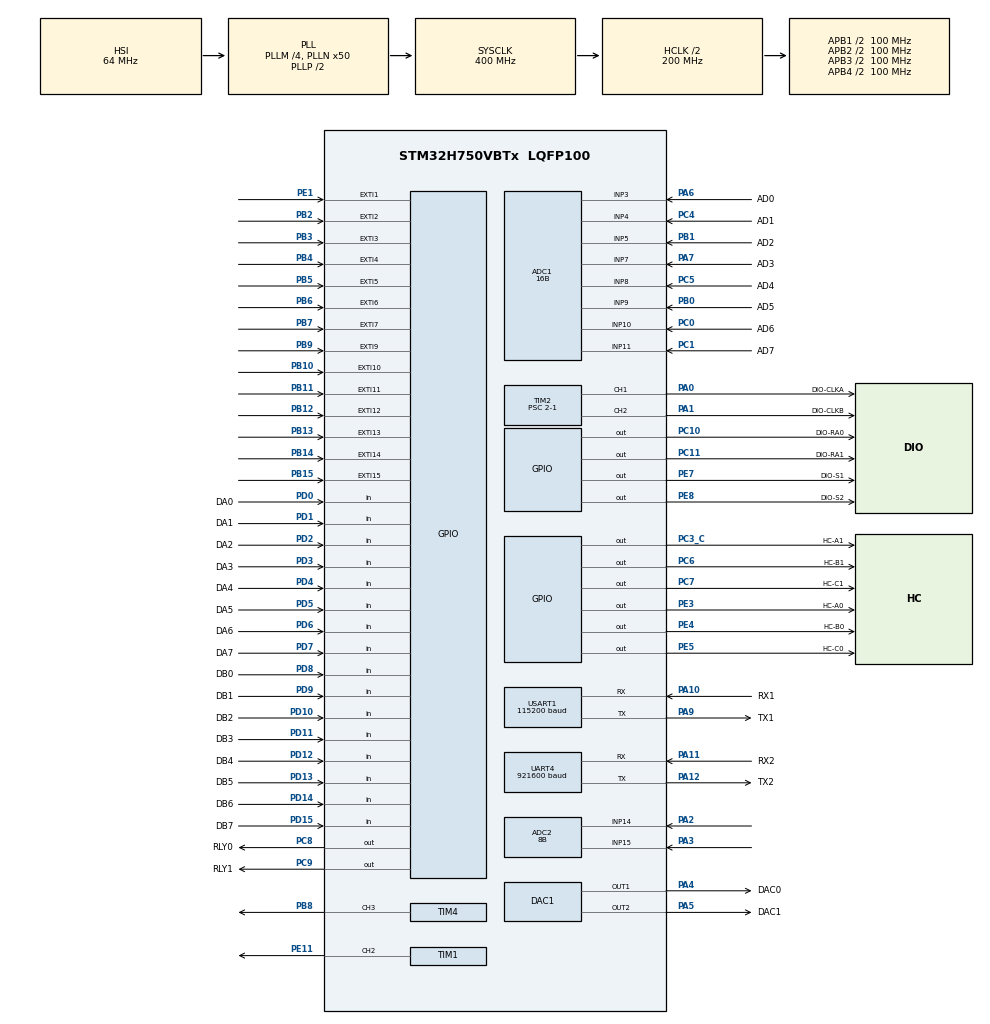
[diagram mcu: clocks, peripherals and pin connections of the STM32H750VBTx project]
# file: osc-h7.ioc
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ADC1.Channel-11\#ChannelRegularConversion=ADC_CHANNEL_3
ADC1.Channel-12\#ChannelRegularConversion=ADC_CHANNEL_4
ADC1.Channel-13\#ChannelRegularConversion=ADC_CHANNEL_5
ADC1.Channel-14\#ChannelRegularConversion=ADC_CHANNEL_7
ADC1.Channel-15\#ChannelRegularConversion=ADC_CHANNEL_8
ADC1.Channel-16\#ChannelRegularConversion=ADC_CHANNEL_9
ADC1.Channel-17\#ChannelRegularConversion=ADC_CHANNEL_10
ADC1.Channel-18\#ChannelRegularConversion=ADC_CHANNEL_11
ADC1.ClockPrescaler=ADC_CLOCK_ASYNC_DIV16
ADC1.ContinuousConvMode=DISABLE
ADC1.ConversionDataManagement=ADC_CONVERSIONDATA_DR
ADC1.DiscontinuousConvMode=ENABLE
ADC1.Mode=ADC_MODE_INDEPENDENT
ADC1.NbrOfConversion=8
ADC1.NbrOfConversionFlag=1
ADC1.OffsetNumber-11\#ChannelRegularConversion=ADC_OFFSET_NONE
ADC1.OffsetNumber-12\#ChannelRegularConversion=ADC_OFFSET_NONE
ADC1.OffsetNumber-13\#ChannelRegularConversion=ADC_OFFSET_NONE
ADC1.OffsetNumber-14\#ChannelRegularConversion=ADC_OFFSET_NONE
ADC1.OffsetNumber-15\#ChannelRegularConversion=ADC_OFFSET_NONE
ADC1.OffsetNumber-16\#ChannelRegularConversion=ADC_OFFSET_NONE
ADC1.OffsetNumber-17\#ChannelRegularConversion=ADC_OFFSET_NONE
ADC1.OffsetNumber-18\#ChannelRegularConversion=ADC_OFFSET_NONE
ADC1.OffsetSignedSaturation-11\#ChannelRegularConversion=DISABLE
ADC1.OffsetSignedSaturation-12\#ChannelRegularConversion=DISABLE
ADC1.OffsetSignedSaturation-13\#ChannelRegularConversion=DISABLE
ADC1.OffsetSignedSaturation-14\#ChannelRegularConversion=DISABLE
ADC1.OffsetSignedSaturation-15\#ChannelRegularConversion=DISABLE
ADC1.OffsetSignedSaturation-16\#ChannelRegularConversion=DISABLE
ADC1.OffsetSignedSaturation-17\#ChannelRegularConversion=DISABLE
ADC1.OffsetSignedSaturation-18\#ChannelRegularConversion=DISABLE
ADC1.Overrun=ADC_OVR_DATA_PRESERVED
ADC1.Rank-11\#ChannelRegularConversion=1
ADC1.Rank-12\#ChannelRegularConversion=2
ADC1.Rank-13\#ChannelRegularConversion=3
ADC1.Rank-14\#ChannelRegularConversion=4
ADC1.Rank-15\#ChannelRegularConversion=5
ADC1.Rank-16\#ChannelRegularConversion=6
ADC1.Rank-17\#ChannelRegularConversion=7
ADC1.Rank-18\#ChannelRegularConversion=8
ADC1.Resolution=ADC_RESOLUTION_16B
ADC1.SamplingTime-11\#ChannelRegularConversion=ADC_SAMPLETIME_387CYCLES_5
ADC1.SamplingTime-12\#ChannelRegularConversion=ADC_SAMPLETIME_387CYCLES_5
ADC1.SamplingTime-13\#ChannelRegularConversion=ADC_SAMPLETIME_387CYCLES_5
ADC1.SamplingTime-14\#ChannelRegularConversion=ADC_SAMPLETIME_1CYCLE_5
ADC1.SamplingTime-15\#ChannelRegularConversion=ADC_SAMPLETIME_1CYCLE_5
ADC1.SamplingTime-16\#ChannelRegularConversion=ADC_SAMPLETIME_1CYCLE_5
ADC1.SamplingTime-17\#ChannelRegularConversion=ADC_SAMPLETIME_1CYCLE_5
ADC1.SamplingTime-18\#ChannelRegularConversion=ADC_SAMPLETIME_1CYCLE_5
ADC1.master=1
ADC2.Channel-5\#ChannelRegularConversion=ADC_CHANNEL_14
ADC2.Channel-6\#ChannelRegularConversion=ADC_CHANNEL_15
ADC2.ClockPrescaler=ADC_CLOCK_ASYNC_DIV16
ADC2.ContinuousConvMode=ENABLE
ADC2.ConversionDataManagement=ADC_CONVERSIONDATA_DMA_CIRCULAR
ADC2.DiscontinuousConvMode=DISABLE
ADC2.NbrOfConversion=2
ADC2.NbrOfConversionFlag=1
ADC2.OffsetNumber-5\#ChannelRegularConversion=ADC_OFFSET_NONE
ADC2.OffsetNumber-6\#ChannelRegularConversion=ADC_OFFSET_NONE
ADC2.OffsetSignedSaturation-5\#ChannelRegularConversion=DISABLE
ADC2.OffsetSignedSaturation-6\#ChannelRegularConversion=DISABLE
ADC2.Overrun=ADC_OVR_DATA_OVERWRITTEN
ADC2.Rank-5\#ChannelRegularConversion=1
ADC2.Rank-6\#ChannelRegularConversion=2
ADC2.Resolution=ADC_RESOLUTION_8B
ADC2.SamplingTime-5\#ChannelRegularConversion=ADC_SAMPLETIME_1CYCLE_5
ADC2.SamplingTime-6\#ChannelRegularConversion=ADC_SAMPLETIME_1CYCLE_5
Bdma.BDMA_GENERATOR0.0.Direction=DMA_PERIPH_TO_MEMORY
Bdma.BDMA_GENERATOR0.0.EventEnable=DISABLE
Bdma.BDMA_GENERATOR0.0.Instance=BDMA_Channel0
Bdma.BDMA_GENERATOR0.0.MemDataAlignment=DMA_MDATAALIGN_BYTE
Bdma.BDMA_GENERATOR0.0.MemInc=DMA_MINC_ENABLE
Bdma.BDMA_GENERATOR0.0.Mode=DMA_NORMAL
Bdma.BDMA_GENERATOR0.0.PeriphDataAlignment=DMA_PDATAALIGN_BYTE
Bdma.BDMA_GENERATOR0.0.PeriphInc=DMA_PINC_DISABLE
Bdma.BDMA_GENERATOR0.0.Polarity=HAL_DMAMUX_REQ_GEN_RISING
Bdma.BDMA_GENERATOR0.0.Priority=DMA_PRIORITY_LOW
Bdma.BDMA_GENERATOR0.0.RequestNumber=1
Bdma.BDMA_GENERATOR0.0.SignalID=NONE
Bdma.BDMA_GENERATOR0.0.SyncEnable=DISABLE
Bdma.BDMA_GENERATOR0.0.SyncPolarity=HAL_DMAMUX_SYNC_NO_EVENT
Bdma.BDMA_GENERATOR0.0.SyncRequestNumber=1
Bdma.BDMA_GENERATOR0.0.SyncSignalID=NONE
Bdma.Request0=BDMA_GENERATOR0
Bdma.RequestsNb=1
DAC1.DAC_Channel-DAC_OUT1=DAC_CHANNEL_1
DAC1.DAC_Channel-DAC_OUT2=DAC_CHANNEL_2
Dma.ADC1.5.Direction=DMA_PERIPH_TO_MEMORY
Dma.ADC1.5.EventEnable=DISABLE
Dma.ADC1.5.FIFOMode=DMA_FIFOMODE_DISABLE
Dma.ADC1.5.Instance=DMA2_Stream2
Dma.ADC1.5.MemDataAlignment=DMA_MDATAALIGN_WORD
Dma.ADC1.5.MemInc=DMA_MINC_ENABLE
Dma.ADC1.5.Mode=DMA_CIRCULAR
Dma.ADC1.5.PeriphDataAlignment=DMA_PDATAALIGN_WORD
Dma.ADC1.5.PeriphInc=DMA_PINC_DISABLE
Dma.ADC1.5.Polarity=HAL_DMAMUX_REQ_GEN_RISING
Dma.ADC1.5.Priority=DMA_PRIORITY_LOW
Dma.ADC1.5.RequestNumber=1
Dma.ADC1.5.SignalID=NONE
Dma.ADC1.5.SyncEnable=DISABLE
Dma.ADC1.5.SyncPolarity=HAL_DMAMUX_SYNC_NO_EVENT
Dma.ADC1.5.SyncRequestNumber=1
Dma.ADC1.5.SyncSignalID=NONE
Dma.ADC2.0.Direction=DMA_PERIPH_TO_MEMORY
Dma.ADC2.0.EventEnable=DISABLE
Dma.ADC2.0.FIFOMode=DMA_FIFOMODE_ENABLE
Dma.ADC2.0.FIFOThreshold=DMA_FIFO_THRESHOLD_FULL
Dma.ADC2.0.Instance=DMA1_Stream0
Dma.ADC2.0.MemBurst=DMA_MBURST_SINGLE
Dma.ADC2.0.MemDataAlignment=DMA_MDATAALIGN_BYTE
Dma.ADC2.0.MemInc=DMA_MINC_ENABLE
Dma.ADC2.0.Mode=DMA_CIRCULAR
Dma.ADC2.0.PeriphBurst=DMA_PBURST_SINGLE
Dma.ADC2.0.PeriphDataAlignment=DMA_PDATAALIGN_BYTE
Dma.ADC2.0.PeriphInc=DMA_PINC_DISABLE
Dma.ADC2.0.Polarity=HAL_DMAMUX_REQ_GEN_RISING
Dma.ADC2.0.Priority=DMA_PRIORITY_LOW
Dma.ADC2.0.RequestNumber=1
Dma.ADC2.0.SignalID=NONE
Dma.ADC2.0.SyncEnable=DISABLE
Dma.ADC2.0.SyncPolarity=HAL_DMAMUX_SYNC_NO_EVENT
Dma.ADC2.0.SyncRequestNumber=1
Dma.ADC2.0.SyncSignalID=NONE
Dma.Request0=ADC2
Dma.Request1=TIM2_CH1
Dma.Request2=TIM2_UP
Dma.Request3=USART1_RX
Dma.Request4=USART1_TX
Dma.Request5=ADC1
Dma.Request6=TIM1_CH2
Dma.Request7=TIM1_CH4
Dma.Request8=TIM1_CH3
Dma.TIM1_CH2.6.Direction=DMA_PERIPH_TO_MEMORY
Dma.TIM1_CH2.6.EventEnable=DISABLE
Dma.TIM1_CH2.6.FIFOMode=DMA_FIFOMODE_DISABLE
Dma.TIM1_CH2.6.Instance=DMA1_Stream2
Dma.TIM1_CH2.6.MemDataAlignment=DMA_MDATAALIGN_HALFWORD
Dma.TIM1_CH2.6.MemInc=DMA_MINC_ENABLE
Dma.TIM1_CH2.6.Mode=DMA_NORMAL
Dma.TIM1_CH2.6.PeriphDataAlignment=DMA_PDATAALIGN_HALFWORD
Dma.TIM1_CH2.6.PeriphInc=DMA_PINC_DISABLE
Dma.TIM1_CH2.6.Polarity=HAL_DMAMUX_REQ_GEN_RISING
Dma.TIM1_CH2.6.Priority=DMA_PRIORITY_LOW
Dma.TIM1_CH2.6.RequestNumber=1
Dma.TIM1_CH2.6.SignalID=NONE
Dma.TIM1_CH2.6.SyncEnable=DISABLE
Dma.TIM1_CH2.6.SyncPolarity=HAL_DMAMUX_SYNC_NO_EVENT
Dma.TIM1_CH2.6.SyncRequestNumber=1
Dma.TIM1_CH2.6.SyncSignalID=NONE
Dma.TIM1_CH3.8.Direction=DMA_PERIPH_TO_MEMORY
Dma.TIM1_CH3.8.EventEnable=DISABLE
Dma.TIM1_CH3.8.FIFOMode=DMA_FIFOMODE_DISABLE
Dma.TIM1_CH3.8.Instance=DMA1_Stream3
Dma.TIM1_CH3.8.MemDataAlignment=DMA_MDATAALIGN_HALFWORD
Dma.TIM1_CH3.8.MemInc=DMA_MINC_ENABLE
Dma.TIM1_CH3.8.Mode=DMA_NORMAL
Dma.TIM1_CH3.8.PeriphDataAlignment=DMA_PDATAALIGN_HALFWORD
Dma.TIM1_CH3.8.PeriphInc=DMA_PINC_DISABLE
Dma.TIM1_CH3.8.Polarity=HAL_DMAMUX_REQ_GEN_RISING
Dma.TIM1_CH3.8.Priority=DMA_PRIORITY_LOW
Dma.TIM1_CH3.8.RequestNumber=1
Dma.TIM1_CH3.8.SignalID=NONE
Dma.TIM1_CH3.8.SyncEnable=DISABLE
Dma.TIM1_CH3.8.SyncPolarity=HAL_DMAMUX_SYNC_NO_EVENT
Dma.TIM1_CH3.8.SyncRequestNumber=1
Dma.TIM1_CH3.8.SyncSignalID=NONE
Dma.TIM1_CH4.7.Direction=DMA_PERIPH_TO_MEMORY
Dma.TIM1_CH4.7.EventEnable=DISABLE
Dma.TIM1_CH4.7.FIFOMode=DMA_FIFOMODE_DISABLE
Dma.TIM1_CH4.7.Instance=DMA1_Stream4
Dma.TIM1_CH4.7.MemDataAlignment=DMA_MDATAALIGN_HALFWORD
Dma.TIM1_CH4.7.MemInc=DMA_MINC_ENABLE
Dma.TIM1_CH4.7.Mode=DMA_NORMAL
Dma.TIM1_CH4.7.PeriphDataAlignment=DMA_PDATAALIGN_HALFWORD
Dma.TIM1_CH4.7.PeriphInc=DMA_PINC_DISABLE
Dma.TIM1_CH4.7.Polarity=HAL_DMAMUX_REQ_GEN_RISING
Dma.TIM1_CH4.7.Priority=DMA_PRIORITY_LOW
Dma.TIM1_CH4.7.RequestNumber=1
Dma.TIM1_CH4.7.SignalID=NONE
Dma.TIM1_CH4.7.SyncEnable=DISABLE
Dma.TIM1_CH4.7.SyncPolarity=HAL_DMAMUX_SYNC_NO_EVENT
Dma.TIM1_CH4.7.SyncRequestNumber=1
Dma.TIM1_CH4.7.SyncSignalID=NONE
Dma.TIM2_CH1.1.Direction=DMA_PERIPH_TO_MEMORY
Dma.TIM2_CH1.1.EventEnable=DISABLE
Dma.TIM2_CH1.1.FIFOMode=DMA_FIFOMODE_DISABLE
Dma.TIM2_CH1.1.Instance=DMA2_Stream0
Dma.TIM2_CH1.1.MemDataAlignment=DMA_MDATAALIGN_HALFWORD
Dma.TIM2_CH1.1.MemInc=DMA_MINC_ENABLE
Dma.TIM2_CH1.1.Mode=DMA_NORMAL
Dma.TIM2_CH1.1.PeriphDataAlignment=DMA_PDATAALIGN_HALFWORD
Dma.TIM2_CH1.1.PeriphInc=DMA_PINC_DISABLE
Dma.TIM2_CH1.1.Polarity=HAL_DMAMUX_REQ_GEN_RISING
Dma.TIM2_CH1.1.Priority=DMA_PRIORITY_LOW
Dma.TIM2_CH1.1.RequestNumber=1
Dma.TIM2_CH1.1.SignalID=NONE
Dma.TIM2_CH1.1.SyncEnable=DISABLE
Dma.TIM2_CH1.1.SyncPolarity=HAL_DMAMUX_SYNC_NO_EVENT
Dma.TIM2_CH1.1.SyncRequestNumber=1
Dma.TIM2_CH1.1.SyncSignalID=NONE
Dma.TIM2_UP.2.Direction=DMA_PERIPH_TO_MEMORY
Dma.TIM2_UP.2.EventEnable=DISABLE
Dma.TIM2_UP.2.FIFOMode=DMA_FIFOMODE_DISABLE
Dma.TIM2_UP.2.Instance=DMA2_Stream4
Dma.TIM2_UP.2.MemDataAlignment=DMA_MDATAALIGN_WORD
Dma.TIM2_UP.2.MemInc=DMA_MINC_ENABLE
Dma.TIM2_UP.2.Mode=DMA_NORMAL
Dma.TIM2_UP.2.PeriphDataAlignment=DMA_PDATAALIGN_WORD
Dma.TIM2_UP.2.PeriphInc=DMA_PINC_DISABLE
Dma.TIM2_UP.2.Polarity=HAL_DMAMUX_REQ_GEN_RISING
Dma.TIM2_UP.2.Priority=DMA_PRIORITY_LOW
Dma.TIM2_UP.2.RequestNumber=1
Dma.TIM2_UP.2.SignalID=NONE
Dma.TIM2_UP.2.SyncEnable=DISABLE
Dma.TIM2_UP.2.SyncPolarity=HAL_DMAMUX_SYNC_NO_EVENT
Dma.TIM2_UP.2.SyncRequestNumber=1
Dma.TIM2_UP.2.SyncSignalID=NONE
Dma.USART1_RX.3.Direction=DMA_PERIPH_TO_MEMORY
Dma.USART1_RX.3.EventEnable=DISABLE
Dma.USART1_RX.3.FIFOMode=DMA_FIFOMODE_DISABLE
Dma.USART1_RX.3.Instance=DMA1_Stream5
Dma.USART1_RX.3.MemDataAlignment=DMA_MDATAALIGN_HALFWORD
Dma.USART1_RX.3.MemInc=DMA_MINC_ENABLE
Dma.USART1_RX.3.Mode=DMA_NORMAL
Dma.USART1_RX.3.PeriphDataAlignment=DMA_PDATAALIGN_HALFWORD
Dma.USART1_RX.3.PeriphInc=DMA_PINC_DISABLE
Dma.USART1_RX.3.Polarity=HAL_DMAMUX_REQ_GEN_RISING
Dma.USART1_RX.3.Priority=DMA_PRIORITY_LOW
Dma.USART1_RX.3.RequestNumber=1
Dma.USART1_RX.3.SignalID=NONE
Dma.USART1_RX.3.SyncEnable=DISABLE
Dma.USART1_RX.3.SyncPolarity=HAL_DMAMUX_SYNC_NO_EVENT
Dma.USART1_RX.3.SyncRequestNumber=1
Dma.USART1_RX.3.SyncSignalID=NONE
Dma.USART1_TX.4.Direction=DMA_MEMORY_TO_PERIPH
Dma.USART1_TX.4.EventEnable=DISABLE
Dma.USART1_TX.4.FIFOMode=DMA_FIFOMODE_DISABLE
Dma.USART1_TX.4.Instance=DMA1_Stream6
Dma.USART1_TX.4.MemDataAlignment=DMA_MDATAALIGN_HALFWORD
Dma.USART1_TX.4.MemInc=DMA_MINC_ENABLE
Dma.USART1_TX.4.Mode=DMA_NORMAL
Dma.USART1_TX.4.PeriphDataAlignment=DMA_PDATAALIGN_HALFWORD
Dma.USART1_TX.4.PeriphInc=DMA_PINC_DISABLE
Dma.USART1_TX.4.Polarity=HAL_DMAMUX_REQ_GEN_RISING
Dma.USART1_TX.4.Priority=DMA_PRIORITY_LOW
Dma.USART1_TX.4.RequestNumber=1
Dma.USART1_TX.4.SignalID=NONE
Dma.USART1_TX.4.SyncEnable=DISABLE
Dma.USART1_TX.4.SyncPolarity=HAL_DMAMUX_SYNC_NO_EVENT
Dma.USART1_TX.4.SyncRequestNumber=1
Dma.USART1_TX.4.SyncSignalID=NONE
Mcu.Family=STM32H7
Mcu.Name=STM32H750VBTx
Mcu.Package=LQFP100
NVIC.DMA1_Stream0_IRQn=true\:0\:0\:true\:false\:true\:false\:true\:true
NVIC.DMA1_Stream2_IRQn=true\:0\:0\:false\:false\:true\:false\:true\:true
NVIC.DMA1_Stream3_IRQn=true\:0\:0\:false\:false\:true\:false\:true\:true
NVIC.DMA1_Stream4_IRQn=true\:0\:0\:false\:false\:true\:false\:true\:true
NVIC.DMA1_Stream5_IRQn=true\:0\:0\:false\:false\:true\:false\:true\:true
NVIC.DMA1_Stream6_IRQn=true\:0\:0\:false\:false\:true\:false\:true\:true
NVIC.DMA2_Stream0_IRQn=true\:0\:0\:false\:false\:true\:false\:true\:true
NVIC.DMA2_Stream2_IRQn=true\:0\:0\:false\:false\:true\:false\:true\:true
NVIC.DMA2_Stream4_IRQn=true\:0\:0\:false\:false\:true\:false\:true\:true
NVIC.EXTI15_10_IRQn=true\:2\:1\:true\:false\:true\:true\:true\:true
NVIC.EXTI1_IRQn=true\:2\:1\:true\:false\:true\:true\:true\:true
NVIC.EXTI2_IRQn=true\:2\:1\:true\:false\:true\:true\:true\:true
NVIC.EXTI3_IRQn=true\:2\:1\:true\:false\:true\:true\:true\:true
NVIC.EXTI4_IRQn=true\:2\:1\:true\:false\:true\:true\:true\:true
NVIC.EXTI9_5_IRQn=true\:1\:1\:true\:false\:true\:true\:true\:true
NVIC.PriorityGroup=NVIC_PRIORITYGROUP_3
NVIC.TIM3_IRQn=true\:2\:1\:true\:false\:true\:true\:true\:true
NVIC.TIM5_IRQn=true\:2\:0\:true\:false\:true\:true\:true\:true
NVIC.TIM6_DAC_IRQn=true\:0\:0\:false\:false\:true\:true\:true\:true
NVIC.TIM8_BRK_TIM12_IRQn=true\:0\:0\:false\:false\:true\:true\:true\:true
NVIC.USART1_IRQn=true\:0\:0\:false\:false\:true\:true\:true\:true
PA0.GPIO_Label=DIO-CLKA
PA0.PinAttribute=Free
PA0.Signal=S_TIM2_CH1_ETR
PA1.GPIO_Label=DIO-CLKB
PA1.Signal=S_TIM2_CH2
PA10.GPIO_Label=RX1
PA10.Mode=Asynchronous
PA10.Signal=USART1_RX
PA11.GPIO_Label=RX2
PA11.Mode=Asynchronous
PA11.Signal=UART4_RX
PA12.GPIO_Label=TX2
PA12.Mode=Asynchronous
PA12.Signal=UART4_TX
PA2.Signal=ADCx_INP14
PA3.Signal=ADCx_INP15
PA4.GPIO_Label=DAC0
PA4.Signal=COMP_DAC11_group
PA5.GPIO_Label=DAC1
PA5.Signal=COMP_DAC12_group
PA6.GPIO_Label=AD0
PA6.Signal=ADCx_INP3
PA7.GPIO_Label=AD3
PA7.Signal=ADCx_INP7
PA9.GPIO_Label=TX1
PA9.Mode=Asynchronous
PA9.Signal=USART1_TX
PB0.GPIO_Label=AD5
PB0.Signal=ADCx_INP9
PB1.GPIO_Label=AD2
PB1.Signal=ADCx_INP5
PB10.GPIO_ModeDefaultEXTI=GPIO_MODE_IT_FALLING
PB10.GPIO_PuPd=GPIO_PULLUP
PB10.Signal=GPXTI10
PB11.GPIO_ModeDefaultEXTI=GPIO_MODE_IT_FALLING
PB11.GPIO_PuPd=GPIO_PULLUP
PB11.Signal=GPXTI11
PB12.GPIO_ModeDefaultEXTI=GPIO_MODE_IT_FALLING
PB12.GPIO_PuPd=GPIO_PULLUP
PB12.Signal=GPXTI12
PB13.GPIO_ModeDefaultEXTI=GPIO_MODE_IT_FALLING
PB13.GPIO_PuPd=GPIO_PULLUP
PB13.Signal=GPXTI13
PB14.GPIO_ModeDefaultEXTI=GPIO_MODE_IT_FALLING
PB14.GPIO_PuPd=GPIO_PULLUP
PB14.Signal=GPXTI14
PB15.GPIO_ModeDefaultEXTI=GPIO_MODE_IT_FALLING
PB15.GPIO_PuPd=GPIO_PULLUP
PB15.Signal=GPXTI15
PB2.GPIO_ModeDefaultEXTI=GPIO_MODE_IT_FALLING
PB2.GPIO_PuPd=GPIO_PULLUP
PB2.Signal=GPXTI2
PB3\ (JTDO/TRACESWO).GPIO_ModeDefaultEXTI=GPIO_MODE_IT_FALLING
PB3\ (JTDO/TRACESWO).GPIO_PuPd=GPIO_PULLUP
PB3\ (JTDO/TRACESWO).Signal=GPXTI3
PB4\ (NJTRST).GPIO_ModeDefaultEXTI=GPIO_MODE_IT_FALLING
PB4\ (NJTRST).GPIO_PuPd=GPIO_PULLUP
PB4\ (NJTRST).Signal=GPXTI4
PB5.GPIO_ModeDefaultEXTI=GPIO_MODE_IT_FALLING
PB5.GPIO_PuPd=GPIO_PULLUP
PB5.PinAttribute=Free
PB5.Signal=GPXTI5
PB6.GPIO_ModeDefaultEXTI=GPIO_MODE_IT_FALLING
PB6.GPIO_PuPd=GPIO_PULLUP
PB6.Signal=GPXTI6
PB7.GPIO_ModeDefaultEXTI=GPIO_MODE_IT_FALLING
PB7.GPIO_PuPd=GPIO_PULLUP
PB7.Signal=GPXTI7
PB8.Signal=S_TIM4_CH3
PB9.GPIO_ModeDefaultEXTI=GPIO_MODE_IT_RISING_FALLING
PB9.GPIO_PuPd=GPIO_NOPULL
PB9.Signal=GPXTI9
PC0.GPIO_Label=AD6
PC0.Signal=ADCx_INP10
PC1.GPIO_Label=AD7
PC1.Signal=ADCx_INP11
PC10.GPIO_Label=DIO-RA0
PC10.GPIO_ModeDefaultOutputPP=GPIO_MODE_OUTPUT_PP
PC10.PinAttribute=Free
PC10.Signal=GPIO_Output
PC11.GPIO_Label=DIO-RA1
PC11.GPIO_ModeDefaultOutputPP=GPIO_MODE_OUTPUT_PP
PC11.PinAttribute=Free
PC11.Signal=GPIO_Output
PC3_C.GPIO_Label=HC-A1
PC3_C.GPIO_ModeDefaultOutputPP=GPIO_MODE_OUTPUT_PP
PC3_C.PinAttribute=Free
PC3_C.Signal=GPIO_Output
PC4.GPIO_Label=AD1
PC4.Signal=ADCx_INP4
PC5.GPIO_Label=AD4
PC5.Signal=ADCx_INP8
PC6.GPIO_Label=HC-B1
PC6.GPIO_ModeDefaultOutputPP=GPIO_MODE_OUTPUT_PP
PC6.Signal=GPIO_Output
PC7.GPIO_Label=HC-C1
PC7.GPIO_ModeDefaultOutputPP=GPIO_MODE_OUTPUT_PP
PC7.Signal=GPIO_Output
PC8.GPIO_Label=RLY0
PC8.GPIO_ModeDefaultOutputPP=GPIO_MODE_OUTPUT_PP
PC8.Signal=GPIO_Output
PC9.GPIO_Label=RLY1
PC9.GPIO_ModeDefaultOutputPP=GPIO_MODE_OUTPUT_PP
PC9.Signal=GPIO_Output
PD0.GPIO_Label=DA0
PD0.GPIO_PuPd=GPIO_PULLDOWN
PD0.PinAttribute=Free
PD0.Signal=GPIO_Input
PD1.GPIO_Label=DA1
PD1.GPIO_PuPd=GPIO_PULLDOWN
PD1.PinAttribute=Free
PD1.Signal=GPIO_Input
PD10.GPIO_Label=DB2
PD10.GPIO_PuPd=GPIO_PULLDOWN
PD10.Signal=GPIO_Input
PD11.GPIO_Label=DB3
PD11.GPIO_Mode=GPIO_MODE_INPUT
PD11.GPIO_PuPd=GPIO_PULLDOWN
PD11.Signal=GPIO_Input
PD12.GPIO_Label=DB4
PD12.GPIO_Mode=GPIO_MODE_INPUT
PD12.GPIO_PuPd=GPIO_PULLDOWN
PD12.Signal=GPIO_Input
PD13.GPIO_Label=DB5
PD13.GPIO_Mode=GPIO_MODE_INPUT
PD13.GPIO_PuPd=GPIO_PULLDOWN
PD13.Signal=GPIO_Input
PD14.GPIO_Label=DB6
PD14.GPIO_Mode=GPIO_MODE_INPUT
PD14.GPIO_PuPd=GPIO_PULLDOWN
PD14.Signal=GPIO_Input
PD15.GPIO_Label=DB7
PD15.GPIO_Mode=GPIO_MODE_INPUT
PD15.GPIO_PuPd=GPIO_PULLDOWN
PD15.Signal=GPIO_Input
PD2.GPIO_Label=DA2
PD2.GPIO_PuPd=GPIO_PULLDOWN
PD2.PinAttribute=Free
PD2.Signal=GPIO_Input
PD3.GPIO_Label=DA3
PD3.GPIO_PuPd=GPIO_PULLUP
PD3.PinAttribute=Free
PD3.Signal=GPIO_Input
PD4.GPIO_Label=DA4
PD4.GPIO_PuPd=GPIO_PULLDOWN
PD4.PinAttribute=Free
PD4.Signal=GPIO_Input
PD5.GPIO_Label=DA5
PD5.GPIO_PuPd=GPIO_PULLDOWN
PD5.PinAttribute=Free
PD5.Signal=GPIO_Input
PD6.GPIO_Label=DA6
PD6.GPIO_PuPd=GPIO_PULLDOWN
PD6.PinAttribute=Free
PD6.Signal=GPIO_Input
PD7.GPIO_Label=DA7
PD7.GPIO_PuPd=GPIO_PULLUP
PD7.Signal=GPIO_Input
PD8.GPIO_Label=DB0
PD8.GPIO_PuPd=GPIO_PULLDOWN
PD8.Signal=GPIO_Input
PD9.GPIO_Label=DB1
PD9.GPIO_PuPd=GPIO_PULLDOWN
PD9.Signal=GPIO_Input
PE1.GPIO_ModeDefaultEXTI=GPIO_MODE_IT_FALLING
PE1.GPIO_PuPd=GPIO_PULLUP
PE1.PinAttribute=Free
PE1.Signal=GPXTI1
PE11.Signal=S_TIM1_CH2
PE3.GPIO_Label=HC-A0
PE3.PinAttribute=Free
PE3.Signal=GPIO_Output
PE4.GPIO_Label=HC-B0
PE4.PinAttribute=Free
PE4.Signal=GPIO_Output
PE5.GPIO_Label=HC-C0
PE5.PinAttribute=Free
PE5.Signal=GPIO_Output
PE7.GPIO_Label=DIO-S1
PE7.Signal=GPIO_Output
PE8.GPIO_Label=DIO-S2
PE8.Signal=GPIO_Output
PH0-OSC_IN\ (PH0).Mode=HSE-External-Oscillator
PH0-OSC_IN\ (PH0).PinAttribute=Free
PH0-OSC_IN\ (PH0).Signal=RCC_OSC_IN
PH1-OSC_OUT\ (PH1).Mode=HSE-External-Oscillator
PH1-OSC_OUT\ (PH1).Signal=RCC_OSC_OUT
ProjectManager.HeapSize=0x200
ProjectManager.StackSize=0x400
ProjectManager.TargetToolchain=MDK-ARM V5.32
RCC.ADCFreq_Value=75000000
RCC.APB1Freq_Value=100000000
RCC.APB2Freq_Value=100000000
RCC.APB3Freq_Value=100000000
RCC.APB4Freq_Value=100000000
RCC.CortexFreq_Value=400000000
RCC.D1PPRE=RCC_APB3_DIV2
RCC.D2PPRE1=RCC_APB1_DIV2
RCC.D2PPRE2=RCC_APB2_DIV2
RCC.D3PPRE=RCC_APB4_DIV2
RCC.DIVM1=4
RCC.DIVM2=4
RCC.DIVN1=50
RCC.DIVN2=9
RCC.FLatency-AdvancedSettings=FLASH_LATENCY_4
RCC.HCLKFreq_Value=200000000
RCC.HPRE=RCC_HCLK_DIV2
RCC.PLL1_VCI_Range-AdvancedSettings=RCC_PLL1VCIRANGE_1
RCC.PLL2FRACN=3072
RCC.PLL2_VCI_Range-AdvancedSettings=RCC_PLL2VCIRANGE_2
RCC.PLL3FRACN=0
RCC.PLL3_VCI_Range-AdvancedSettings=RCC_PLL3VCIRANGE_0
RCC.PLL3_VCO_SEL-AdvancedSettings=RCC_PLL3VCOMEDIUM
RCC.PLLFRACN=0
RCC.SYSCLKFreq_VALUE=400000000
RCC.SYSCLKSource=RCC_SYSCLKSOURCE_PLLCLK
RCC.USART16CLockSelection=RCC_USART16CLKSOURCE_PLL2
RCC.USART234578CLockSelection=RCC_USART234578CLKSOURCE_PLL2
RCC.USBFreq_Value=400000000
SH.ADCx_INP10.0=ADC1_INP10,IN10-Single-Ended
SH.ADCx_INP11.0=ADC1_INP11,IN11-Single-Ended
SH.ADCx_INP14.0=ADC2_INP14,IN14-Single-Ended
SH.ADCx_INP15.0=ADC2_INP15,IN15-Single-Ended
SH.ADCx_INP3.0=ADC1_INP3,IN3-Single-Ended
SH.ADCx_INP4.0=ADC1_INP4,IN4-Single-Ended
SH.ADCx_INP5.0=ADC1_INP5,IN5-Single-Ended
SH.ADCx_INP7.0=ADC1_INP7,IN7-Single-Ended
SH.ADCx_INP8.0=ADC1_INP8,IN8-Single-Ended
SH.ADCx_INP9.0=ADC1_INP9,IN9-Single-Ended
SH.COMP_DAC11_group.0=DAC1_OUT1,DAC_OUT1
SH.COMP_DAC12_group.0=DAC1_OUT2,DAC_OUT2
SH.S_TIM1_CH2.0=TIM1_CH2,PWM Generation2 CH2
SH.S_TIM2_CH1_ETR.0=TIM2_CH1,PWM Generation1 CH1
SH.S_TIM2_CH2.0=TIM2_CH2,PWM Generation2 CH2
SH.S_TIM4_CH3.0=TIM4_CH3,PWM Generation3 CH3
TIM1.Channel-PWM\ Generation2\ CH2=TIM_CHANNEL_2
TIM1.Channel-PWM\ Generation3\ No\ Output=TIM_CHANNEL_3
TIM1.Channel-PWM\ Generation4\ No\ Output=TIM_CHANNEL_4
TIM1.OCPolarity_2=TIM_OCPOLARITY_HIGH
TIM1.Period=4-1
TIM1.Prescaler=2-1
TIM1.Pulse-PWM\ Generation2\ CH2=1
TIM1.TIM_MasterOutputTrigger=TIM_TRGO_ENABLE
TIM1.TIM_MasterOutputTrigger2=TIM_TRGO2_ENABLE
TIM1.TIM_MasterSlaveMode=TIM_MASTERSLAVEMODE_ENABLE
TIM12.Period=2000-1
TIM12.Prescaler=200-1
TIM2.AutoReloadPreload=TIM_AUTORELOAD_PRELOAD_ENABLE
TIM2.Channel-PWM\ Generation1\ CH1=TIM_CHANNEL_1
TIM2.Channel-PWM\ Generation2\ CH2=TIM_CHANNEL_2
TIM2.Period=2-1
TIM2.Prescaler=2-1
TIM2.Pulse-PWM\ Generation1\ CH1=1
TIM2.Pulse-PWM\ Generation2\ CH2=1
TIM2.TIM_MasterOutputTrigger=TIM_TRGO_ENABLE
TIM2.TIM_MasterSlaveMode=TIM_MASTERSLAVEMODE_ENABLE
TIM3.Period=2000-1
TIM3.Prescaler=20000-1
TIM4.Channel-PWM\ Generation3\ CH3=TIM_CHANNEL_3
TIM5.Period=50000-1
TIM5.Prescaler=2000-1
UART4.BaudRate=921600
USART1.BaudRate=115200
USART1.VirtualMode-Asynchronous=VM_ASYNC
VP_TIM12_VS_ClockSourceINT.Mode=Internal
VP_TIM1_VS_NoETR.Mode=ClockSourceETR_Mode2_ADC_Remap_TIM1
VP_TIM1_VS_no_output3.Mode=PWM Generation3 No Output
VP_TIM1_VS_no_output4.Mode=PWM Generation4 No Output
VP_TIM2_VS_ClockSourceINT.Mode=Internal
VP_TIM3_VS_ClockSourceINT.Mode=Internal
VP_TIM4_VS_ClockSourceINT.Mode=Internal
VP_TIM5_VS_ClockSourceINT.Mode=Internal
VP_VREFBUF_V_VREFBUF.Mode=ExternalMode
board=custom

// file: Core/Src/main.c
/* USER CODE BEGIN Header */
/**
  ******************************************************************************
  * @file           : main.c
  * @brief          : Main program body
  ******************************************************************************
  * @attention
  *
  * Copyright (c) 2024 STMicroelectronics.
  * All rights reserved.
  *
  * This software is licensed under terms that can be found in the LICENSE file
  * in the root directory of this software component.
  * If no LICENSE file comes with this software, it is provided AS-IS.
  *
  ******************************************************************************
  */
/* USER CODE END Header */
#include "main.h"
#include "adc.h"
#include "bdma.h"
#include "dac.h"
#include "dma.h"
#include "tim.h"
#include "usart.h"
#include "gpio.h"

/* USER CODE BEGIN Includes */
#include "stdio.h"
#include "osc.h"
#include "key.h"
#include "filter.h"
#include "button.h"
#include "menu.h"
#include "flash.h"
/* USER CODE END Includes */

/* USER CODE BEGIN PV */
uint8_t TxMsg[] = "\r\n*****USART communication based on DMA*****\r\n";
/* USER CODE END PV */

void SystemClock_Config(void);
void PeriphCommonClock_Config(void);
/* USER CODE BEGIN PFP */

int fputc(int ch, FILE* file)
{
    UART4->TDR = ch & 0xFF;

    while((UART4->ISR & UART_FLAG_TC) == RESET);

    return ch;
}

/* USER CODE END PFP */

int main(void)
{

  /* MCU Configuration--------------------------------------------------------*/

  /* Reset of all peripherals, Initializes the Flash interface and the Systick. */
  HAL_Init();

  /* Configure the system clock */
  SystemClock_Config();

/* Configure the peripherals common clocks */
  PeriphCommonClock_Config();

  /* Initialize all configured peripherals */
  MX_GPIO_Init();
  MX_DMA_Init();
  MX_BDMA_Init();
  MX_TIM3_Init();
  MX_USART1_UART_Init();
  MX_DAC1_Init();
  MX_ADC1_Init();
  MX_UART4_Init();
  MX_ADC2_Init();
  MX_TIM1_Init();
  MX_TIM2_Init();
  MX_TIM4_Init();
  MX_TIM5_Init();
  MX_TIM12_Init();
  /* USER CODE BEGIN 2 */
	delay_ms(1000);
	Init_Osc();
	if(*(__IO uint32_t*)0x08019000!=0xffffffff) load_calibo_data();
//	write_flash();
//	uint32_t* pData;
//	uint32_t a=123;
//	pData=&a;

  /* USER CODE END 2 */

  /* Infinite loop */
  while (1)
  {

    /* USER CODE BEGIN 3 */
	//HAL_Delay(1000);

		//ADC+DMA
//			printf("%d",flag);
//			if(flag==1)
//			{
//				flag=0;
//			for(int i=0;i<10;i++)
//			printf("data%d=%d\r\n",i,data[i]);
//			}

//		if(flag==1)
//		{
//			flag=0;
//			printf("result:");
//			for(int j=0;j<1400;j++)
//			{
//					ad1[j]=ADC_Value[2*j];
//					if(ad1[j]>255) ad1[j]=255;
//			}
//			for(int j=0;j<1400;j++)
//			{
//					ad2[j]=ADC_Value[2*j+1];
//					if(ad2[j]>255) ad2[j]=255;
//			}
//			for(int j=0;j<50;j++)
//			{
//				printf("ad1=%d,ad2=%d\r\n",ad1[j],ad2[j]);
//			}
//		}
  }
  /* USER CODE END 3 */
}

void SystemClock_Config(void)
{
  RCC_OscInitTypeDef RCC_OscInitStruct = {0};
  RCC_ClkInitTypeDef RCC_ClkInitStruct = {0};

  /** Supply configuration update enable
  */
  HAL_PWREx_ConfigSupply(PWR_LDO_SUPPLY);

  /** Configure the main internal regulator output voltage
  */
  __HAL_PWR_VOLTAGESCALING_CONFIG(PWR_REGULATOR_VOLTAGE_SCALE1);

  while(!__HAL_PWR_GET_FLAG(PWR_FLAG_VOSRDY)) {}

  /** Initializes the RCC Oscillators according to the specified parameters
  * in the RCC_OscInitTypeDef structure.
  */
  RCC_OscInitStruct.OscillatorType = RCC_OSCILLATORTYPE_HSI;
  RCC_OscInitStruct.HSIState = RCC_HSI_DIV1;
  RCC_OscInitStruct.HSICalibrationValue = RCC_HSICALIBRATION_DEFAULT;
  RCC_OscInitStruct.PLL.PLLState = RCC_PLL_ON;
  RCC_OscInitStruct.PLL.PLLSource = RCC_PLLSOURCE_HSI;
  RCC_OscInitStruct.PLL.PLLM = 4;
  RCC_OscInitStruct.PLL.PLLN = 50;
  RCC_OscInitStruct.PLL.PLLP = 2;
  RCC_OscInitStruct.PLL.PLLQ = 2;
  RCC_OscInitStruct.PLL.PLLR = 2;
  RCC_OscInitStruct.PLL.PLLRGE = RCC_PLL1VCIRANGE_3;
  RCC_OscInitStruct.PLL.PLLVCOSEL = RCC_PLL1VCOWIDE;
  RCC_OscInitStruct.PLL.PLLFRACN = 0;
  if (HAL_RCC_OscConfig(&RCC_OscInitStruct) != HAL_OK)
  {
    Error_Handler();
  }

  /** Initializes the CPU, AHB and APB buses clocks
  */
  RCC_ClkInitStruct.ClockType = RCC_CLOCKTYPE_HCLK|RCC_CLOCKTYPE_SYSCLK
                              |RCC_CLOCKTYPE_PCLK1|RCC_CLOCKTYPE_PCLK2
                              |RCC_CLOCKTYPE_D3PCLK1|RCC_CLOCKTYPE_D1PCLK1;
  RCC_ClkInitStruct.SYSCLKSource = RCC_SYSCLKSOURCE_PLLCLK;
  RCC_ClkInitStruct.SYSCLKDivider = RCC_SYSCLK_DIV1;
  RCC_ClkInitStruct.AHBCLKDivider = RCC_HCLK_DIV2;
  RCC_ClkInitStruct.APB3CLKDivider = RCC_APB3_DIV2;
  RCC_ClkInitStruct.APB1CLKDivider = RCC_APB1_DIV2;
  RCC_ClkInitStruct.APB2CLKDivider = RCC_APB2_DIV2;
  RCC_ClkInitStruct.APB4CLKDivider = RCC_APB4_DIV2;

  if (HAL_RCC_ClockConfig(&RCC_ClkInitStruct, FLASH_LATENCY_2) != HAL_OK)
  {
    Error_Handler();
  }
}

void PeriphCommonClock_Config(void)
{
  RCC_PeriphCLKInitTypeDef PeriphClkInitStruct = {0};

  /** Initializes the peripherals clock
  */
  PeriphClkInitStruct.PeriphClockSelection = RCC_PERIPHCLK_ADC|RCC_PERIPHCLK_USART1
                              |RCC_PERIPHCLK_UART4;
  PeriphClkInitStruct.PLL2.PLL2M = 4;
  PeriphClkInitStruct.PLL2.PLL2N = 9;
  PeriphClkInitStruct.PLL2.PLL2P = 2;
  PeriphClkInitStruct.PLL2.PLL2Q = 2;
  PeriphClkInitStruct.PLL2.PLL2R = 2;
  PeriphClkInitStruct.PLL2.PLL2RGE = RCC_PLL2VCIRANGE_3;
  PeriphClkInitStruct.PLL2.PLL2VCOSEL = RCC_PLL2VCOMEDIUM;
  PeriphClkInitStruct.PLL2.PLL2FRACN = 3072;
  PeriphClkInitStruct.Usart234578ClockSelection = RCC_USART234578CLKSOURCE_PLL2;
  PeriphClkInitStruct.Usart16ClockSelection = RCC_USART16CLKSOURCE_PLL2;
  PeriphClkInitStruct.AdcClockSelection = RCC_ADCCLKSOURCE_PLL2;
  if (HAL_RCCEx_PeriphCLKConfig(&PeriphClkInitStruct) != HAL_OK)
  {
    Error_Handler();
  }
}

void Error_Handler(void)
{
  __disable_irq();
  while (1)
  {
  }
}
